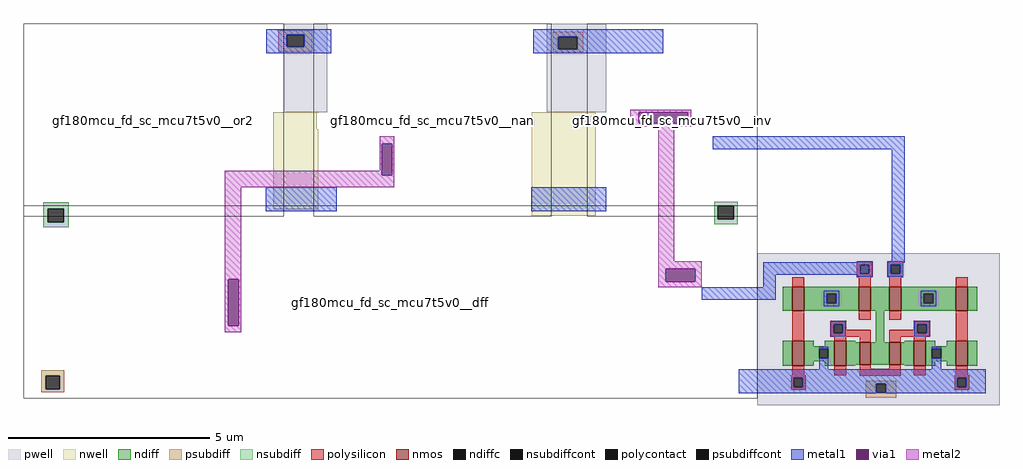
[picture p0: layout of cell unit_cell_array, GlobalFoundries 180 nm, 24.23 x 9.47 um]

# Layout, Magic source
magic
tech gf180mcuD
magscale 1 10
<< nwell >>
rect 1227 249 1452 253
rect 1228 167 1444 249
rect 1227 -230 1452 167
rect 2512 -261 2830 253
<< pwell >>
rect 1279 253 1497 691
rect 2586 253 2881 691
<< psubdiff >>
rect 1253 636 1421 660
rect 1253 577 1294 636
rect 1382 577 1421 636
rect 1253 552 1421 577
rect 2615 627 2767 651
rect 2615 566 2643 627
rect 2738 566 2767 627
rect 2615 550 2767 566
rect 77 -1056 190 -1029
rect 77 -1123 98 -1056
rect 167 -1123 190 -1056
rect 77 -1138 190 -1123
<< nsubdiff >>
rect 87 -226 212 -195
rect 87 -293 109 -226
rect 189 -293 212 -226
rect 87 -320 212 -293
rect 3418 -212 3534 -192
rect 3418 -279 3435 -212
rect 3515 -279 3534 -212
rect 3418 -303 3534 -279
<< psubdiffcont >>
rect 1294 577 1382 636
rect 2643 566 2738 627
rect 98 -1123 167 -1056
<< nsubdiffcont >>
rect 109 -293 189 -226
rect 3435 -279 3515 -212
<< metal1 >>
rect 1193 636 1516 665
rect 1193 577 1294 636
rect 1382 577 1516 636
rect 1193 545 1516 577
rect 2519 627 3164 665
rect 2519 566 2643 627
rect 2738 566 3164 627
rect 2519 545 3164 566
rect 3410 69 4364 133
rect 1192 -240 1544 -119
rect 2508 -239 2882 -119
rect 2508 -240 2860 -239
rect 3661 -554 4190 -493
rect 4300 -495 4364 69
rect 3661 -617 3722 -554
rect 3356 -678 3722 -617
rect 3539 -1143 3797 -1023
<< via1 >>
rect 3043 198 3287 252
rect 1766 -61 1820 97
rect 1004 -809 1056 -576
rect 3176 -590 3324 -526
<< metal2 >>
rect 3000 252 3304 264
rect 3000 198 3043 252
rect 3287 198 3304 252
rect 3000 181 3304 198
rect 1758 97 1830 133
rect 1758 -38 1766 97
rect 988 -61 1766 -38
rect 1820 -61 1830 97
rect 988 -119 1830 -61
rect 988 -576 1069 -119
rect 988 -809 1004 -576
rect 1056 -809 1069 -576
rect 3140 -488 3219 181
rect 3140 -526 3356 -488
rect 3140 -590 3176 -526
rect 3324 -590 3356 -526
rect 3140 -617 3356 -590
rect 988 -841 1069 -809
use CS_Switch_16x2  CS_Switch_16x2_0
transform 1 0 4009 0 1 -1833
box -377 631 825 1384
use gf180mcu_fd_sc_mcu7t5v0__dffq_2  gf180mcu_fd_sc_mcu7t5v0__dffq_2_0 ~/eda/unic-cass/envs/gf180mcu-env/share/pdk/gf180mcuD/libs.ref/gf180mcu_fd_sc_mcu7t5v0/mag
transform 1 0 74 0 1 -1083
box -86 -86 3558 870
use gf180mcu_fd_sc_mcu7t5v0__inv_2  gf180mcu_fd_sc_mcu7t5v0__inv_2_0 ~/eda/unic-cass/envs/gf180mcu-env/share/pdk/gf180mcuD/libs.ref/gf180mcu_fd_sc_mcu7t5v0/mag
transform 1 0 2874 0 -1 605
box -86 -86 758 870
use gf180mcu_fd_sc_mcu7t5v0__nand2_2  gf180mcu_fd_sc_mcu7t5v0__nand2_2_0 ~/eda/unic-cass/envs/gf180mcu-env/share/pdk/gf180mcuD/libs.ref/gf180mcu_fd_sc_mcu7t5v0/mag
transform 1 0 1514 0 -1 605
box -86 -86 1094 870
use gf180mcu_fd_sc_mcu7t5v0__or2_2  gf180mcu_fd_sc_mcu7t5v0__or2_2_0 ~/eda/unic-cass/envs/gf180mcu-env/share/pdk/gf180mcuD/libs.ref/gf180mcu_fd_sc_mcu7t5v0/mag
transform 1 0 74 0 -1 605
box -86 -86 1206 870
<< end >>

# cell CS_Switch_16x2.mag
magic
tech gf180mcuD
magscale 1 10
<< pwell >>
rect -377 631 825 1384
<< nmos >>
rect -204 1100 -144 1220
rect 126 1100 186 1220
rect 278 1100 338 1220
rect 608 1100 668 1220
rect -204 826 -144 950
rect 4 826 64 950
rect 130 832 186 944
rect 278 832 334 944
rect 400 826 460 950
rect 608 826 668 950
<< ndiff >>
rect -250 1100 -204 1220
rect -144 1183 126 1220
rect -144 1137 -32 1183
rect 14 1137 126 1183
rect -144 1100 126 1137
rect 186 1100 278 1220
rect 338 1183 608 1220
rect 338 1137 450 1183
rect 496 1137 608 1183
rect 338 1100 608 1137
rect 668 1100 714 1220
rect -250 826 -204 950
rect -144 924 -98 950
rect -42 924 4 950
rect -144 910 4 924
rect -144 864 -71 910
rect -25 864 4 910
rect -144 848 4 864
rect -144 826 -98 848
rect -42 826 4 848
rect 64 944 110 950
rect 210 944 254 1100
rect 354 944 400 950
rect 64 832 130 944
rect 186 832 278 944
rect 334 832 400 944
rect 64 826 110 832
rect 354 826 400 832
rect 460 924 506 950
rect 562 924 608 950
rect 460 910 608 924
rect 460 864 489 910
rect 535 864 608 910
rect 460 848 608 864
rect 460 826 506 848
rect 562 826 608 848
rect 668 826 714 950
<< ndiffc >>
rect -32 1137 14 1183
rect 450 1137 496 1183
rect -71 864 -25 910
rect 489 864 535 910
<< psubdiff >>
rect 162 738 312 751
rect 162 692 214 738
rect 260 692 312 738
rect 162 667 312 692
<< psubdiffcont >>
rect 214 692 260 738
<< polysilicon >>
rect 116 1329 196 1346
rect 116 1283 133 1329
rect 179 1283 196 1329
rect 116 1266 196 1283
rect 268 1329 348 1346
rect 268 1283 285 1329
rect 331 1283 348 1329
rect 268 1266 348 1283
rect -204 1220 -144 1266
rect 126 1220 186 1266
rect 278 1220 338 1266
rect 608 1220 668 1266
rect -204 950 -144 1100
rect 126 1054 186 1100
rect -16 1033 64 1050
rect -16 987 1 1033
rect 47 1006 64 1033
rect 47 987 186 1006
rect -16 970 186 987
rect 4 950 64 970
rect 130 944 186 970
rect 278 1054 338 1100
rect 400 1033 480 1050
rect 400 1006 417 1033
rect 278 987 417 1006
rect 463 987 480 1033
rect 278 970 480 987
rect 278 944 334 970
rect 400 950 460 970
rect 608 950 668 1100
rect -204 780 -144 826
rect 4 780 64 826
rect 130 812 186 832
rect 278 812 334 832
rect -210 767 -138 780
rect 130 776 334 812
rect 400 780 460 826
rect 608 780 668 826
rect -210 721 -197 767
rect -151 721 -138 767
rect 602 767 674 780
rect -210 708 -138 721
rect 602 721 615 767
rect 661 721 674 767
rect 602 708 674 721
<< polycontact >>
rect 133 1283 179 1329
rect 285 1283 331 1329
rect 1 987 47 1033
rect 417 987 463 1033
rect -197 721 -151 767
rect 615 721 661 767
<< metal1 >>
rect 118 1329 194 1344
rect 118 1283 133 1329
rect 179 1283 194 1329
rect 118 1268 194 1283
rect 270 1329 346 1344
rect 270 1283 285 1329
rect 331 1283 346 1329
rect 270 1268 346 1283
rect -47 1183 29 1198
rect -47 1137 -32 1183
rect 14 1137 29 1183
rect -47 1122 29 1137
rect 435 1183 511 1198
rect 435 1137 450 1183
rect 496 1137 511 1183
rect 435 1122 511 1137
rect -14 1033 62 1048
rect -14 987 1 1033
rect 47 987 62 1033
rect -14 972 62 987
rect 402 1033 478 1048
rect 402 987 417 1033
rect 463 987 478 1033
rect 402 972 478 987
rect -71 910 -25 921
rect -71 810 -25 864
rect 489 910 535 921
rect 489 810 535 864
rect -307 767 756 810
rect -307 721 -197 767
rect -151 738 615 767
rect -151 721 214 738
rect -307 692 214 721
rect 260 721 615 738
rect 661 721 756 767
rect 260 692 756 721
rect -307 690 756 692
<< labels >>
flabel metal1 118 1268 194 1344 1 FreeSans 400 0 0 0 INP
port 1 n
flabel metal1 270 1268 346 1344 1 FreeSans 400 0 0 0 INN
port 2 n
flabel metal1 -47 1122 29 1198 1 FreeSans 400 0 0 0 OUTP
port 3 n
flabel metal1 435 1122 511 1198 1 FreeSans 400 0 0 0 OUTN
port 4 n
flabel metal1 -14 972 62 1048 1 FreeSans 400 0 0 0 VBIAS
port 5 n
flabel metal1 402 972 478 1048 1 FreeSans 400 0 0 0 VBIAS
port 6 n
flabel metal1 -151 690 615 810 1 FreeSans 400 0 0 0 VSS
port 7 n
rlabel pwell 615 690 756 811 1 VSS
port 7 n
rlabel pwell 489 810 535 921 1 VSS
port 7 n
rlabel pwell -71 810 -25 921 1 VSS
port 7 n
rlabel pwell -307 690 -151 810 1 VSS
port 7 n
<< end >>
